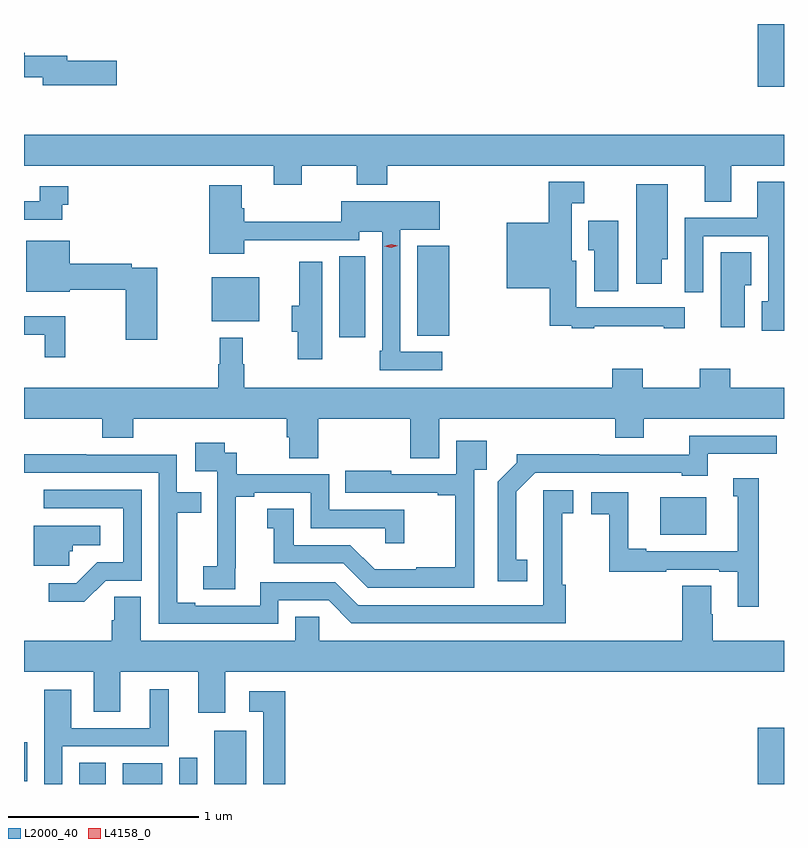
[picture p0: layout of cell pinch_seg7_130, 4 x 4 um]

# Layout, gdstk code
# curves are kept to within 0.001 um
import gdstk
lib = gdstk.Library(unit=1e-6, precision=1e-09)
def R(c, l, rs):  # rectangles x0, y0, x1, y1
    for r in rs: c.add(gdstk.rectangle(r[:2], r[2:], *l))
def P(c, l, *ps):  # polygons
    for p in ps: c.add(gdstk.Polygon(p, *l))
L2000_40 = (2000, 40)
L4158_0 = (4158, 0)

pinch_seg7_130 = lib.new_cell('pinch_seg7_130')
R(pinch_seg7_130, L2000_40, [(897.692,1002.69,897.832,1002.803), (897.92,1002.69,898.129,1002.799), (898.218,1002.69,898.314,1002.829), (898.403,1002.69,898.57,1002.97), (901.262,1002.69,901.401,1002.987), (897.401,1002.704,897.418,1002.91), (900.749,1004.003,900.991,1004.2), (899.06,1005.042,899.197,1005.467), (899.471,1005.049,899.638,1005.523), (898.388,1005.125,898.639,1005.358), (901.262,1006.359,901.401,1006.69)])
P(pinch_seg7_130, L2000_40, [(897.889,1006.497),(897.628,1006.497),(897.628,1006.523),(897.404,1006.523),(897.404,1006.538),(897.401,1006.538),(897.401,1006.41),(897.5,1006.41),(897.5,1006.367),(897.889,1006.367)],
  [(901.123,1005.944),(901.401,1005.944),(901.401,1006.108),(897.401,1006.108),(897.401,1005.944),(898.715,1005.944),(898.715,1005.845),(898.863,1005.845),(898.863,1005.944),(899.152,1005.944),(899.152,1005.845),(899.312,1005.845),(899.312,1005.944),(900.983,1005.944),(900.983,1005.754),(901.123,1005.754)],
  [(900.403,1005.1),(900.767,1005.1),(900.767,1005.09),(900.879,1005.09),(900.879,1005.198),(900.307,1005.198),(900.307,1005.444),(900.283,1005.444),(900.283,1005.746),(900.349,1005.746),(900.349,1005.859),(900.162,1005.859),(900.162,1005.643),(899.942,1005.643),(899.942,1005.299),(900.167,1005.299),(900.167,1005.102),(900.283,1005.102),(900.283,1005.09),(900.403,1005.09)],
  [(901.401,1005.859),(901.259,1005.859),(901.259,1005.669),(900.879,1005.669),(900.879,1005.279),(900.975,1005.279),(900.975,1005.573),(901.317,1005.573),(901.317,1005.231),(901.283,1005.231),(901.283,1005.075),(901.401,1005.075)],
  [(900.757,1005.452),(900.79,1005.452),(900.79,1005.847),(900.623,1005.847),(900.623,1005.324),(900.757,1005.324)],
  [(899.602,1004.964),(899.382,1004.964),(899.382,1005.608),(899.59,1005.608),(899.59,1005.757),(899.07,1005.757),(899.07,1005.65),(898.561,1005.65),(898.561,1005.72),(898.546,1005.72),(898.546,1005.841),(898.376,1005.841),(898.376,1005.48),(898.559,1005.48),(898.559,1005.551),(898.754,1005.551),(898.754,1005.552),(899.166,1005.552),(899.166,1005.596),(899.286,1005.596),(899.286,1004.971),(899.274,1004.971),(899.274,1004.868),(899.602,1004.868)],
  [(897.602,1005.74),(897.634,1005.74),(897.634,1005.837),(897.485,1005.837),(897.485,1005.756),(897.401,1005.756),(897.401,1005.66),(897.602,1005.66)],
  [(900.529,1005.655),(900.371,1005.655),(900.371,1005.499),(900.401,1005.499),(900.401,1005.283),(900.529,1005.283)],
  [(898.102,1005.408),(897.968,1005.408),(897.968,1005.428),(897.643,1005.428),(897.643,1005.55),(897.413,1005.55),(897.413,1005.281),(897.643,1005.281),(897.643,1005.292),(897.937,1005.292),(897.937,1005.027),(898.102,1005.027)],
  [(901.195,1005.314),(901.228,1005.314),(901.228,1005.488),(901.067,1005.488),(901.067,1005.093),(901.195,1005.093)],
  [(898.972,1005.439),(898.85,1005.439),(898.85,1005.207),(898.811,1005.207),(898.811,1005.07),(898.843,1005.07),(898.843,1004.925),(898.972,1004.925)],
  [(897.619,1005.151),(897.401,1005.151),(897.401,1005.054),(897.509,1005.054),(897.509,1004.937),(897.619,1004.937)],
  [(900.664,1004.612),(901.401,1004.612),(901.401,1004.776),(901.118,1004.776),(901.118,1004.875),(900.958,1004.875),(900.958,1004.776),(900.657,1004.776),(900.657,1004.875),(900.497,1004.875),(900.497,1004.776),(898.559,1004.776),(898.559,1004.9),(898.552,1004.9),(898.552,1005.04),(898.431,1005.04),(898.431,1004.9),(898.423,1004.9),(898.423,1004.776),(897.401,1004.776),(897.401,1004.612),(897.812,1004.612),(897.812,1004.513),(897.977,1004.513),(897.977,1004.612),(898.784,1004.612),(898.784,1004.514),(898.796,1004.514),(898.796,1004.404),(898.949,1004.404),(898.949,1004.612),(899.435,1004.612),(899.435,1004.404),(899.587,1004.404),(899.587,1004.612),(900.512,1004.612),(900.512,1004.513),(900.664,1004.513)],
  [(900.05,1003.871),(899.992,1003.871),(899.992,1004.227),(900.093,1004.328),(900.864,1004.328),(900.864,1004.312),(901,1004.312),(901,1004.427),(901.364,1004.427),(901.364,1004.523),(900.901,1004.523),(900.901,1004.424),(900.428,1004.424),(900.428,1004.426),(899.994,1004.426),(899.994,1004.381),(899.895,1004.282),(899.895,1003.758),(900.05,1003.758)],
  [(899.772,1004.345),(899.837,1004.345),(899.837,1004.497),(899.676,1004.497),(899.676,1004.319),(899.335,1004.319),(899.335,1004.338),(899.092,1004.338),(899.092,1004.223),(899.579,1004.223),(899.579,1004.211),(899.671,1004.211),(899.671,1003.831),(899.465,1003.831),(899.465,1003.819),(899.246,1003.819),(899.118,1003.947),(898.822,1003.947),(898.822,1004.138),(898.682,1004.138),(898.682,1004.035),(898.715,1004.035),(898.715,1003.851),(899.082,1003.851),(899.211,1003.722),(899.772,1003.722)],
  [(898.514,1003.825),(898.516,1003.825),(898.516,1004.203),(898.612,1004.203),(898.612,1004.223),(898.911,1004.223),(898.911,1004.037),(899.301,1004.037),(899.301,1003.956),(899.402,1003.956),(899.402,1004.133),(899.007,1004.133),(899.007,1004.319),(898.52,1004.319),(898.52,1004.433),(898.458,1004.433),(898.458,1004.485),(898.302,1004.485),(898.302,1004.337),(898.419,1004.337),(898.419,1004.033),(898.418,1004.033),(898.418,1003.836),(898.344,1003.836),(898.344,1003.714),(898.514,1003.714)],
  [(898.74,1003.656),(899.004,1003.656),(899.124,1003.536),(900.251,1003.536),(900.251,1003.739),(900.234,1003.739),(900.234,1004.115),(900.292,1004.115),(900.292,1004.236),(900.134,1004.236),(900.135,1003.632),(899.16,1003.632),(899.04,1003.752),(898.644,1003.752),(898.644,1003.629),(898.303,1003.629),(898.303,1003.644),(898.207,1003.644),(898.207,1004.118),(898.334,1004.118),(898.334,1004.226),(898.206,1004.226),(898.206,1004.424),(897.728,1004.424),(897.728,1004.426),(897.401,1004.426),(897.401,1004.328),(898.11,1004.328),(898.11,1003.533),(898.74,1003.533)],
  [(901.267,1004.299),(901.133,1004.299),(901.133,1004.205),(901.157,1004.205),(901.157,1003.914),(900.676,1003.914),(900.676,1003.927),(900.58,1003.927),(900.58,1004.226),(900.387,1004.226),(900.387,1004.11),(900.481,1004.11),(900.481,1003.806),(900.782,1003.806),(900.782,1003.818),(901.061,1003.818),(901.061,1003.806),(901.157,1003.806),(901.157,1003.623),(901.267,1003.623)],
  [(897.831,1003.761),(898.02,1003.761),(898.02,1004.238),(897.504,1004.238),(897.504,1004.142),(897.924,1004.142),(897.924,1003.857),(897.786,1003.857),(897.675,1003.746),(897.531,1003.746),(897.531,1003.649),(897.718,1003.649)],
  [(897.639,1003.914),(897.658,1003.914),(897.658,1003.946),(897.802,1003.946),(897.802,1004.05),(897.452,1004.05),(897.452,1003.839),(897.639,1003.839)],
  [(898.459,1003.28),(901.401,1003.28),(901.401,1003.444),(901.026,1003.444),(901.026,1003.583),(901.018,1003.583),(901.018,1003.733),(900.866,1003.733),(900.866,1003.444),(898.956,1003.444),(898.956,1003.571),(898.829,1003.571),(898.829,1003.444),(898.015,1003.444),(898.015,1003.676),(897.876,1003.676),(897.876,1003.553),(897.863,1003.553),(897.863,1003.444),(897.401,1003.444),(897.401,1003.28),(897.767,1003.28),(897.767,1003.069),(897.907,1003.069),(897.907,1003.28),(898.319,1003.28),(898.319,1003.065),(898.459,1003.065)],
  [(897.603,1002.888),(898.163,1002.888),(898.163,1003.189),(898.064,1003.189),(898.064,1002.984),(897.649,1002.984),(897.649,1003.186),(897.507,1003.186),(897.507,1002.69),(897.603,1002.69)],
  [(898.775,1003.177),(898.587,1003.177),(898.587,1003.071),(898.659,1003.071),(898.659,1002.69),(898.775,1002.69)])
P(pinch_seg7_130, L4158_0, [(899.333,1005.512),(899.298,1005.521),(899.298,1005.521),(899.298,1005.521),(899.333,1005.532),(899.368,1005.524),(899.368,1005.523),(899.368,1005.523)])

lib.write_gds('pinch_seg7_130.gds')
